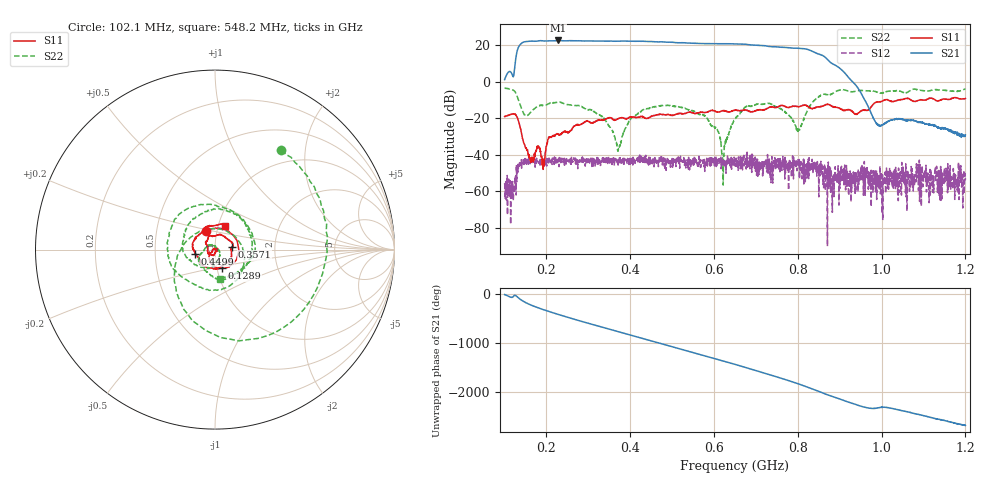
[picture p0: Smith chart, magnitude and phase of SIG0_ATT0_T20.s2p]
# Hz S DB R 50
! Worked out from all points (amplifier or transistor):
!   1601 points, 100 MHz to 1.2 GHz, reference 50 ohm
!   highest |S21| = 22.7 dB at 227.2 MHz (marker M1)
!   |S21| within 3 dB of that: 134.7 MHz to 724.5 MHz (589.8 MHz wide, 137 % of centre)
!   unconditionally stable (mu >= 1): start of sweep to end of sweep
!   at 282.9 MHz: K = 4.68, MAG = 22.7 dB, |S12| = -42.2 dB
!   at 650 MHz: K = 6.39, MAG = 20.9 dB, |S12| = -43.1 dB
!   at 1.2 GHz: K = 3614.51, MAG = -26.3 dB, |S12| = -53.8 dB
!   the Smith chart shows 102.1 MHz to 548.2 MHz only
!   S11 on the Smith chart (normalised r, x): 102.1 MHz: 0.89, +0.18; 128.9 MHz: 1.06, -0.22; 357.1 MHz: 1.21, +0.04; 449.9 MHz: 0.80, -0.04; 548.2 MHz: 1.08, +0.29
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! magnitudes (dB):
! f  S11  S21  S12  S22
! 100 MHz  -19.0  1.2  -55.6  -3.5
! 102.1 MHz  -18.9  2.5  -55.6  -3.5
! 128.9 MHz  -19.1  15.8  -54.9  -7.3
! 164.6 MHz  -43.7  22.3  -43.2  -16.2
! 227.2 MHz  -28.5  22.7  -42.7  -11.1
! 283.6 MHz  -23.3  22.4  -43.4  -13.5
! 357.1 MHz  -20.5  22.3  -43.8  -26.9
! 372.9 MHz  -20.0  22.3  -42.0  -36.5
! 401.1 MHz  -19.4  22.3  -43.5  -20.3
! 449.9 MHz  -18.8  22.1  -43.3  -14.1
! 467.1 MHz  -17.9  21.9  -46.5  -13.4
! 548.2 MHz  -17.0  21.2  -43.9  -15.7
! 606 MHz  -16.5  20.9  -42.5  -25.2
! 621.1 MHz  -15.9  20.9  -43.7  -44.9
! 650 MHz  -15.5  20.7  -43.1  -20.3
! 731.1 MHz  -14.1  19.4  -46.8  -11.8
! 801.2 MHz  -13.6  18.4  -45.9  -26.6
! 833.6 MHz  -14.8  16.9  -47.9  -11.7
! 936 MHz  -17.4  -1.3  -49.1  -5.3
! 989.6 MHz  -11.1  -23.5  -55.0  -5.8
! 1.017 GHz  -10.2  -21.7  -56.2  -5.1
! 1.2 GHz  -9.2  -29.1  -53.8  -3.9
